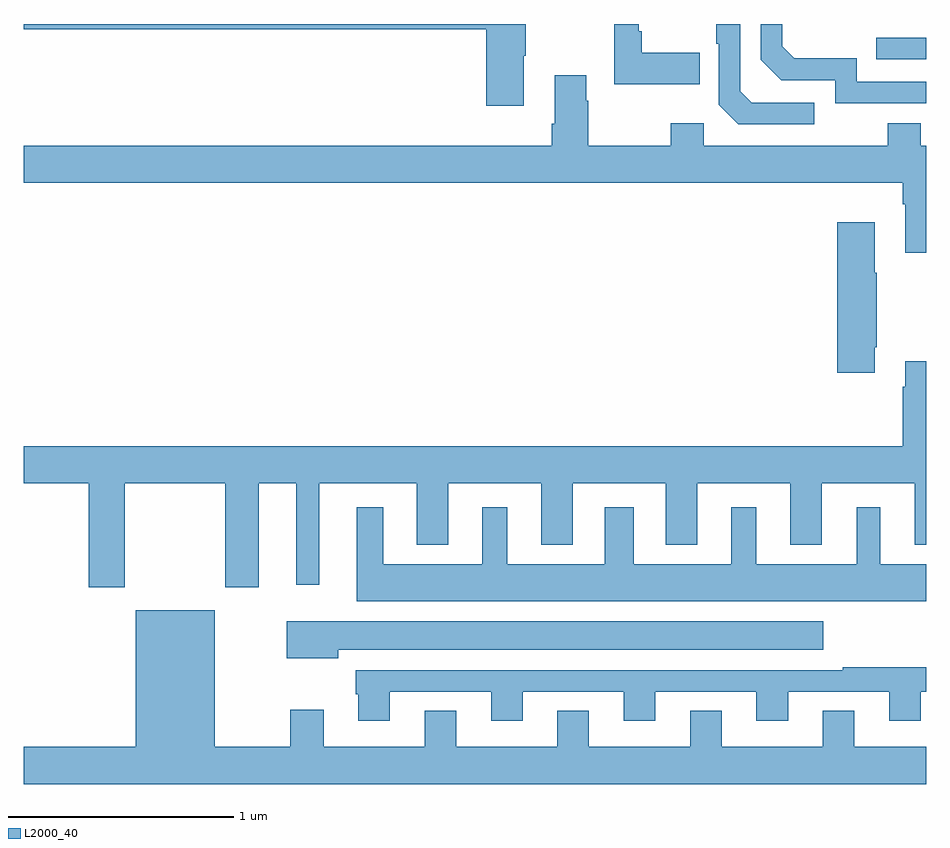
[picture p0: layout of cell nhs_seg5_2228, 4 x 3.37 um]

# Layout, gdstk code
import gdstk
lib = gdstk.Library(unit=1e-6, precision=1e-09)
def R(c, l, rs):  # rectangles x0, y0, x1, y1
    for r in rs: c.add(gdstk.rectangle(r[:2], r[2:], *l))
def P(c, l, *ps):  # polygons
    for p in ps: c.add(gdstk.Polygon(p, *l))
L2000_40 = (2000, 40)

nhs_seg5_2228 = lib.new_cell('nhs_seg5_2228')
R(nhs_seg5_2228, L2000_40, [(244.777,854.643,245,854.739)])
P(nhs_seg5_2228, L2000_40, [(245,854.544),(244.692,854.544),(244.692,854.647),(244.415,854.647),(244.362,854.7),(244.362,854.799),(244.266,854.799),(244.266,854.64),(244.356,854.55),(244.596,854.55),(244.596,854.448),(245,854.448)],
  [(244.504,854.451),(244.227,854.451),(244.176,854.502),(244.176,854.799),(244.068,854.799),(244.068,854.711),(244.08,854.711),(244.08,854.442),(244.167,854.355),(244.504,854.355)],
  [(243.995,854.671),(243.739,854.671),(243.739,854.767),(243.726,854.767),(243.726,854.799),(243.618,854.799),(243.618,854.531),(243.995,854.531)],
  [(243.217,854.659),(243.225,854.659),(243.225,854.799),(241,854.799),(241,854.776),(243.05,854.776),(243.05,854.436),(243.217,854.436)],
  [(245,854.26),(244.975,854.26),(244.975,854.359),(244.828,854.359),(244.828,854.26),(244.014,854.26),(244.014,854.359),(243.868,854.359),(243.868,854.26),(243.501,854.26),(243.501,854.459),(243.493,854.459),(243.493,854.572),(243.353,854.572),(243.353,854.356),(243.341,854.356),(243.341,854.26),(241,854.26),(241,854.096),(244.895,854.096),(244.895,854),(244.907,854),(244.907,853.785),(245,853.785)],
  [(244.771,853.366),(244.779,853.366),(244.779,853.697),(244.771,853.697),(244.771,853.921),(244.604,853.921),(244.604,853.254),(244.771,853.254)],
  [(241,852.764),(241.289,852.764),(241.289,852.303),(241.449,852.303),(241.449,852.764),(241.894,852.764),(241.894,852.303),(242.041,852.303),(242.041,852.764),(242.207,852.764),(242.207,852.315),(242.311,852.315),(242.311,852.764),(242.741,852.764),(242.741,852.491),(242.881,852.491),(242.881,852.764),(243.293,852.764),(243.293,852.491),(243.433,852.491),(243.433,852.764),(243.845,852.764),(243.845,852.491),(243.985,852.491),(243.985,852.764),(244.397,852.764),(244.397,852.491),(244.537,852.491),(244.537,852.764),(244.949,852.764),(244.949,852.491),(245,852.491),(245,853.306),(244.907,853.306),(244.907,853.193),(244.895,853.193),(244.895,852.928),(241,852.928)],
  [(245,852.406),(244.795,852.406),(244.795,852.658),(244.691,852.658),(244.691,852.406),(244.246,852.406),(244.246,852.658),(244.136,852.658),(244.136,852.406),(243.703,852.406),(243.703,852.658),(243.575,852.658),(243.575,852.406),(243.142,852.406),(243.142,852.658),(243.032,852.658),(243.032,852.406),(242.593,852.406),(242.593,852.658),(242.477,852.658),(242.477,852.242),(245,852.242)],
  [(245,851.596),(244.681,851.596),(244.681,851.756),(244.541,851.756),(244.541,851.596),(244.093,851.596),(244.093,851.756),(243.953,851.756),(243.953,851.596),(243.505,851.596),(243.505,851.756),(243.365,851.756),(243.365,851.596),(242.917,851.596),(242.917,851.756),(242.777,851.756),(242.777,851.596),(242.329,851.596),(242.329,851.761),(242.182,851.761),(242.182,851.596),(241.846,851.596),(241.846,852.202),(241.496,852.202),(241.496,851.596),(241,851.596),(241,851.432),(245,851.432)],
  [(242.395,852.026),(244.543,852.026),(244.543,852.154),(242.166,852.154),(242.166,851.99),(242.395,851.99)],
  [(242.623,851.841),(243.071,851.841),(243.071,851.712),(243.211,851.712),(243.211,851.841),(243.659,851.841),(243.659,851.712),(243.799,851.712),(243.799,851.841),(244.247,851.841),(244.247,851.712),(244.387,851.712),(244.387,851.841),(244.835,851.841),(244.835,851.712),(244.975,851.712),(244.975,851.84),(245,851.84),(245,851.95),(244.63,851.95),(244.63,851.937),(242.471,851.937),(242.471,851.829),(242.483,851.829),(242.483,851.712),(242.623,851.712)])

lib.write_gds('nhs_seg5_2228.gds')
